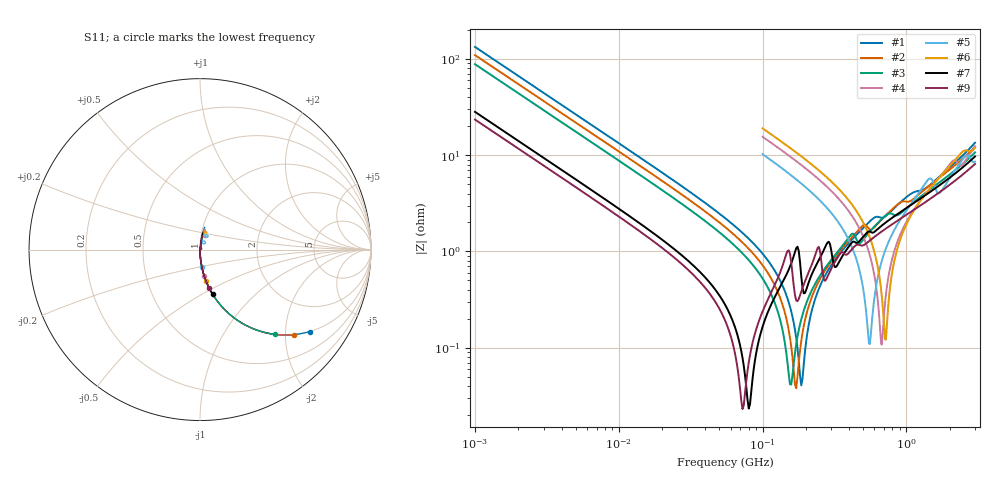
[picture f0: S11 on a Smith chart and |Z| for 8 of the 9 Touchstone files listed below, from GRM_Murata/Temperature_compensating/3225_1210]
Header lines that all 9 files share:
!These Parameters are Measured in Series Mode Connection
!Data Generated on Mar 30, 2021
!  o--ll--o
!Port1  Port2
!  o------o
!Operation Temp=25[degC], DC Bias Voltage=0[V]
# Hz S RI R 50
!Freq.(Hz) S11(Real) S11(Imag) S21(Real) S21(Imag) S12(Real) S12(Imag) S22(Real) S22(Imag)
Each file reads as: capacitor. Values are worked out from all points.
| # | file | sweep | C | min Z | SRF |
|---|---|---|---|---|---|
| 1 | GRM32A7U2J122JW31.s2p | 1 MHz to 3 GHz | 1.19 nF | 40.4 mohm | 186.3 MHz |
| 2 | GRM32A7U2J152JW31.s2p | 1 MHz to 3 GHz | 1.45 nF | 37.8 mohm | 170.5 MHz |
| 3 | GRM32A7U2J182JW31.s2p | 1 MHz to 3 GHz | 1.8 nF | 41.3 mohm | 156.9 MHz |
| 4 | GRM32A7U3D101JW31.s2p | 100 MHz to 3 GHz | 99.9 pF | 107 mohm | 672 MHz |
| 5 | GRM32A7U3D151JW31.s2p | 100 MHz to 3 GHz | 150 pF | 109 mohm | 554 MHz |
| 6 | GRM32A7U3D820JW31.s2p | 100 MHz to 3 GHz | 81.9 pF | 121 mohm | 715.6 MHz |
| 7 | GRM32B7U2J562JW31.s2p | 1 MHz to 3 GHz | 5.63 nF | 23.3 mohm | 80.54 MHz |
| 8 | GRM32B7U3A122JW31.s2p | 1 MHz to 3 GHz | 1.22 nF | 46.1 mohm | 182.9 MHz |
| 9 | GRM32Q7U2J682JW31.s2p | 1 MHz to 3 GHz | 6.77 nF | 23 mohm | 72.95 MHz |
